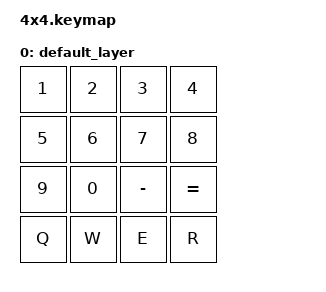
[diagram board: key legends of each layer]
#include <behaviors.dtsi>
#include <dt-bindings/zmk/keys.h>

/
{
    keymap {
        compatible = "zmk,keymap";
        default_layer {
            bindings = <
                &kp F1   &kp F2   &kp F3   &kp F4     // ROW 0
                &kp F5   &kp F6   &kp F7   &kp F8     // ROW 1
                &kp F9   &kp F10  &kp F11  &kp F12    // ROW 2
                &kp N1   &kp N2   &kp N3   &kp N4     // ROW 3
            >;
        };
    };
};
#include <behaviors.dtsi>
#include <dt-bindings/zmk/keys.h>
#include <dt-bindings/zmk/bt.h>

/ {
    keymap {
        compatible = "zmk,keymap";
        default_layer {
            bindings = <
                &kp N1   &kp N2   &kp N3   &kp N4
                &kp N5   &kp N6   &kp N7   &kp N8
                &kp N9   &kp N0   &kp MINUS &kp EQUAL
                &kp Q    &kp W    &kp E    &kp R
            >;
        };

        #include <zmk/keymap.h>
        keymap_transforms {
            compatible = "zmk,keymap_transforms";
        };
    };

    // Display behaviors
    behaviors {
        display: display {
            compatible = "zmk,behavior-display";
            label = "DISPLAY";
            #binding-cells = <0>;
            bindings = <&display>;
        };

        key_press: key_press {
            compatible = "zmk,behavior-key-press";
            label = "KEY_PRESS";
            #binding-cells = <0>;
            bindings = <&key_press>;
        };
    };
};
